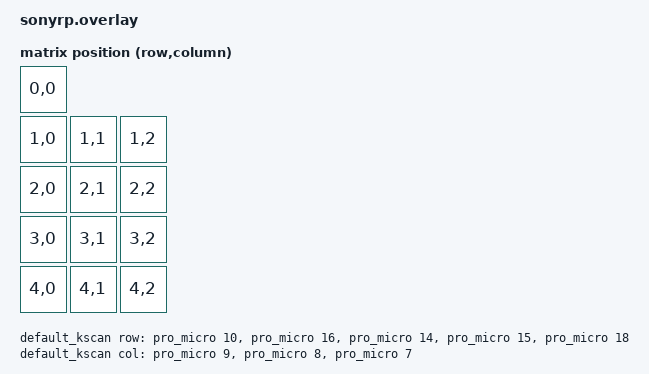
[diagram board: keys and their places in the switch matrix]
#include <dt-bindings/zmk/matrix_transform.h> // Put this with the other includes at the top of your
#include <physical_layouts.dtsi>


/ {  
    default_kscan: kscan {
        compatible = "zmk,kscan-gpio-matrix";
        label = "default_kscan";
        diode-direction = "col2row";
        poll-period-ms = <20>;

        row-gpios = <&pro_micro 10 (GPIO_ACTIVE_HIGH | GPIO_PULL_DOWN)>,
                    <&pro_micro 16 (GPIO_ACTIVE_HIGH | GPIO_PULL_DOWN)>,
                    <&pro_micro 14 (GPIO_ACTIVE_HIGH | GPIO_PULL_DOWN)>,
                    <&pro_micro 15 (GPIO_ACTIVE_HIGH | GPIO_PULL_DOWN)>,
                    <&pro_micro 18 (GPIO_ACTIVE_HIGH | GPIO_PULL_DOWN)>;

        col-gpios = <&pro_micro 9 (GPIO_ACTIVE_HIGH)>,
                    <&pro_micro 8 (GPIO_ACTIVE_HIGH)>,
                    <&pro_micro 7 (GPIO_ACTIVE_HIGH)>;

    };
    
    default_transform: matrix_transform {
        compatible = "zmk,matrix-transform";
        rows = <5>;
        columns = <3>;

        map = <
        RC(0, 0)
        RC(1, 0) RC(1, 1) RC(1, 2)
        RC(2, 0) RC(2, 1) RC(2, 2)                                 
        RC(3, 0) RC(3, 1) RC(3, 2)
        RC(4, 0) RC(4, 1) RC(4, 2)
        >;
    };
    
    
    physical_layout0: physical_layout_0 { // Physical-layout to be chosen in the chosen node
        compatible = "zmk,physical-layout"; // Required
        display-name = "Default Layout"; // Required
        transform = <&default_transform>; // Required, Label of the matrix transform for this layout
        kscan = <&default_kscan>; // Optional, Label of the kscan node
        
        keys  //                     w   h    x    y     rot    rx    ry
            = <&key_physical_attrs 100 100    0    0       0     0     0>
            , <&key_physical_attrs 100 100    0  100       0     0     0>
            , <&key_physical_attrs 100 100  100  100       0     0     0>
            , <&key_physical_attrs 100 100  200  100       0     0     0>
            , <&key_physical_attrs 100 100    0  200       0     0     0>
            , <&key_physical_attrs 100 100  100  200       0     0     0>
            , <&key_physical_attrs 100 100  200  200       0     0     0>
            , <&key_physical_attrs 100 100    0  300       0     0     0>
            , <&key_physical_attrs 100 100  100  300       0     0     0>
            , <&key_physical_attrs 100 100  200  300       0     0     0>
            , <&key_physical_attrs 100 100    0  400       0     0     0>
            , <&key_physical_attrs 100 100  100  400       0     0     0>
            , <&key_physical_attrs 100 100  200  400       0     0     0>
            ;
    };
    
    chosen {
        zmk,kscan = &default_kscan;// Required if it's the default kscan for all physical layouts
        zmk,physical-layout = &physical_layout0;
    };    
};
